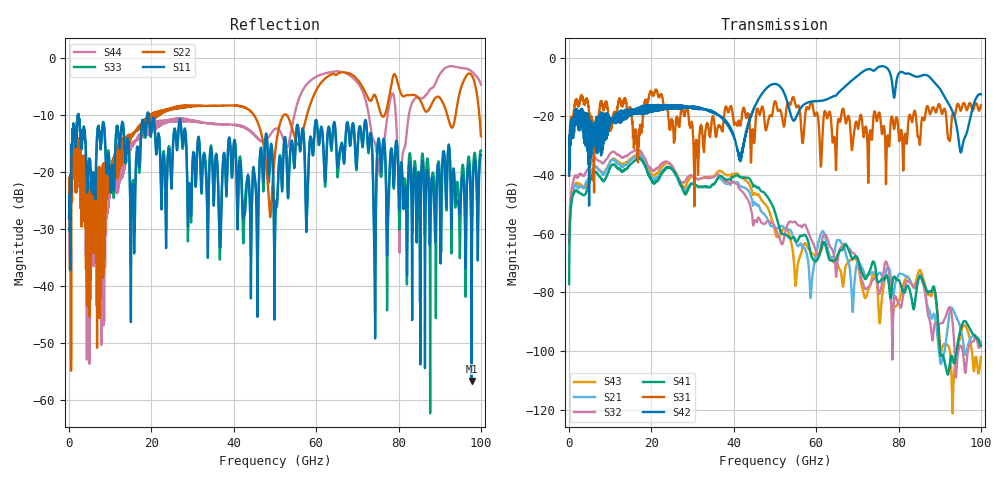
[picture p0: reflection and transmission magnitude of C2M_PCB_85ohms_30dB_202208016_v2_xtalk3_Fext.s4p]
! Info: Touchstone file created by Circ.  Input file=Intel_C2M_200G_13p5in_202208016_staggered.circ
# Hz S RI R 50
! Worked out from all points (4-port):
!   10000 points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, 10 MHz to 100 GHz, reference 50 ohm
!   strongest paths, dB at 10 MHz, 25.01 GHz, 50.01 GHz, 75.01 GHz, 100 GHz:
!     S42: -40.1, -16.4, -8.9, -3.3, -12.5
!     S31: -40.2, -21.8, -14.8, -19.8, -16.2
!     S41: -77.2, -37.9, -52.7, -76.5, -98.3
!     S32: -57.6, -36.9, -57.9, -78.5, -96.9
!     S21: -60.8, -38.0, -57.8, -73.9, -97.9
!     S43: -63.5, -36.8, -59.2, -81.6, -102.1
!   lowest |S11| = -56.6 dB at 97.76 GHz (marker M1), VSWR 1.00, Z = 50.1 - j0.0533 ohm
!   |S11| at or under -10 dB: start of sweep to 2.278 GHz; 2.334 GHz to 18.99 GHz (16.66 GHz wide, 156 % of centre); 19.34 GHz to end of sweep
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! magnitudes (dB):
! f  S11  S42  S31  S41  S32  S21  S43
! 10 MHz  -27.9  -40.1  -40.2  -77.2  -57.6  -60.8  -63.5
! 16.95 GHz  -18.6  -17.2  -29.0  -34.2  -31.4  -33.1  -32.8
! 41.52 GHz  -18.0  -35.2  -23.1  -40.8  -44.9  -43.8  -40.5
! 58.74 GHz  -13.9  -15.0  -15.2  -67.2  -61.9  -81.0  -66.5
! 80.34 GHz  -22.2  -4.9  -27.0  -76.6  -84.7  -73.6  -82.1
! 97.76 GHz  -56.6  -18.3  -17.0  -93.7  -96.8  -95.2  -99.4
! 100 GHz  -16.9  -12.5  -16.2  -98.3  -96.9  -97.9  -102.1
